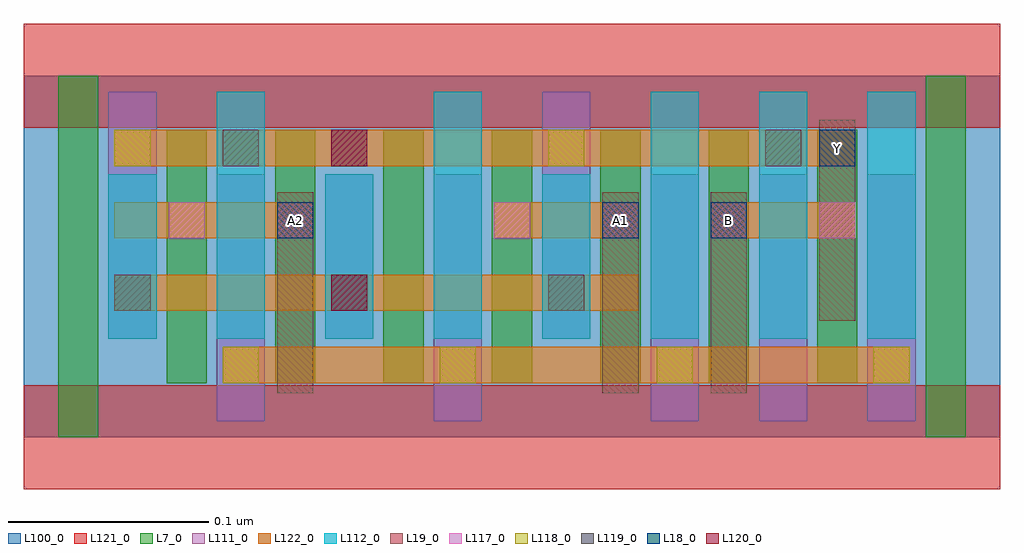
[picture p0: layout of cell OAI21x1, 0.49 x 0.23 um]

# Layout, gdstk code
import gdstk
lib = gdstk.Library(unit=1e-6, precision=2.5e-10)
def R(c, l, rs):  # rectangles x0, y0, x1, y1
    for r in rs: c.add(gdstk.rectangle(r[:2], r[2:], *l))
def A(c, l, x, y, w, h, nx, ny, dx, dy):  # array of equal rectangles
    R(c, l, [(x+i*dx, y+j*dy, x+i*dx+w, y+j*dy+h) for i in range(nx) for j in range(ny)])
L7_0 = (7, 0)
L18_0 = (18, 0)
L19_0 = (19, 0)
L100_0 = (100, 0)
L111_0 = (111, 0)
L112_0 = (112, 0)
L117_0 = (117, 0)
L118_0 = (118, 0)
L119_0 = (119, 0)
L120_0 = (120, 0)
L121_0 = (121, 0)
L122_0 = (122, 0)

oai21x1 = lib.new_cell('OAI21x1')
A(oai21x1, L7_0, 0.071, 0.027, 0.02, 0.126, 7, 1, 0.054, 0)
R(oai21x1, L7_0, [(0.017,0,0.037,0.18), (0.449,0,0.469,0.18)])
R(oai21x1, L18_0, [(0.126,0.099,0.144,0.117), (0.288,0.099,0.306,0.117), (0.342,0.099,0.36,0.117), (0.396,0.135,0.414,0.153)])
R(oai21x1, L19_0, [(0.126,0.022,0.144,0.122), (0.288,0.022,0.306,0.122), (0.342,0.022,0.36,0.122), (0.396,0.058,0.414,0.158)])
R(oai21x1, L100_0, [(0,0,0.486,0.18)])
A(oai21x1, L111_0, 0.096, 0.008, 0.024, 0.123, 3, 1, 0.108, 0)
R(oai21x1, L111_0, [(0.366,0.008,0.39,0.131), (0.42,0.008,0.444,0.131), (0.042,0.049,0.066,0.172), (0.15,0.049,0.174,0.131), (0.258,0.049,0.282,0.172)])
A(oai21x1, L112_0, 0.042, 0.049, 0.024, 0.082, 3, 1, 0.108, 0)
A(oai21x1, L112_0, 0.096, 0.049, 0.024, 0.123, 3, 1, 0.108, 0)
R(oai21x1, L112_0, [(0.366,0.049,0.39,0.172), (0.42,0.049,0.444,0.172)])
A(oai21x1, L117_0, 0.234, 0.099, 0.018, 0.018, 4, 1, 0.054, 0)
R(oai21x1, L117_0, [(0.072,0.099,0.09,0.117), (0.126,0.099,0.144,0.117)])
A(oai21x1, L118_0, 0.099, 0.027, 0.018, 0.018, 4, 1, 0.108, 0)
R(oai21x1, L118_0, [(0.045,0.135,0.063,0.153), (0.261,0.135,0.279,0.153)])
A(oai21x1, L119_0, 0.045, 0.063, 0.018, 0.018, 3, 1, 0.108, 0)
R(oai21x1, L119_0, [(0.099,0.135,0.117,0.153), (0.153,0.135,0.171,0.153), (0.369,0.135,0.387,0.153)])
R(oai21x1, L120_0, [(0.153,0.063,0.171,0.081), (0.153,0.135,0.171,0.153)])
R(oai21x1, L121_0, [(0,-0.026,0.486,0.026), (0,0.154,0.486,0.206)])
R(oai21x1, L122_0, [(0.099,0.027,0.441,0.045), (0.045,0.063,0.306,0.081), (0.045,0.099,0.144,0.117), (0.234,0.099,0.306,0.117), (0.342,0.099,0.414,0.117), (0.045,0.135,0.414,0.153)])
oai21x1.add(gdstk.Label('Y', (0.405,0.144), layer=19, texttype=251))
oai21x1.add(gdstk.Label('B', (0.351,0.108), layer=19, texttype=251))
oai21x1.add(gdstk.Label('A2', (0.135,0.108), layer=19, texttype=251))
oai21x1.add(gdstk.Label('A1', (0.297,0.108), layer=19, texttype=251))

lib.write_gds('OAI21x1.gds')
